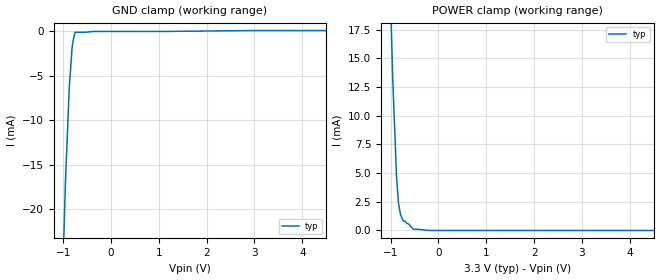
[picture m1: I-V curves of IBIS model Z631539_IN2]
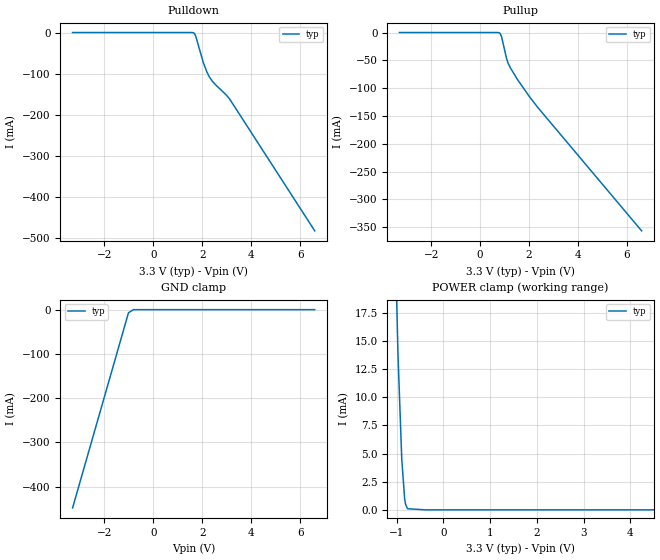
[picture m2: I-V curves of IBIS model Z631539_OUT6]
| YOU ARE ONLY AUTHORIZED TO USE THIS SOFTWARE
| ACCORDING TO LICENSOR'S LICENSE RESTRICTIONS.
[IBIS Ver] 3.1
[File Name] mc100ep08dt_33.ibs
[File Rev] .1
[Source] Derived form mc10ep16d_33.ibs Measured and created
|   by ICX Technology
[Date] 6/17/2002
[Copyright]
| (C) COPYRIGHT 1993-2000
| MENTOR GRAPHICS CORPORATION
| ICX STANDARD LIBRARY, ICX PROJECT MODELING,
| ICX CUSTOM MODELING, ICX VENDOR MODEL
| ALL RIGHTS RESERVED.
| THE FOLLOWING ARE TRADEMARKS OR SERVICE MARKS OF
| MENTOR GRAPHICS CORPORATION:ICX (R), ICX STANDARD
| LIBRARY(R), ICX PROJECT MODELING(R), ICX CUSTOM
| MODELING(R), qualityIBIS(TM), MODELVIEWER(TM),
| AND MODELEDITOR(TM)
| ALL COPIES OF SOFTWARE, INCLUDING BUT NOT LIMITED TO
| ANY MODIFICATIONS, ENHANCEMENTS OR DERIVATIVE WORKS,
| MUST CONTAIN ALL MENTOR GRAPHICS CORPORATION'S
| NOTICES AND LEGENDS, INCLUDING THOSE EMBEDDED IN
| SOFTWARE AND THOSE AFFIXED TO SOFTWARE MEDIUM
| AND CONTAINER, AS RECEIVED FROM MENTOR GRAPHICS
| CORPORATION.
|  ZAP Model Builder 2.8
[Component] MC100EP08DT_33
[Manufacturer] OnSemiconductor
[Package]
| variable   typ   min   max
R_pkg  .044ohms NA NA
L_pkg  1.82nH NA NA
C_pkg  .083pF NA NA
[Pin] signal_name  model_name  R_pin  L_pin C_pin
1 D0 Z631539_IN2 .044 1.802n .083p
2 _D0 Z631539_IN2 .044 1.802n .083p
3 D1 Z631539_IN2 .044 1.802n .083p
4 _D1 Z631539_IN2 .044 1.802n .083p
5 VEE GND .044 1.802n .083p
6 _Q Z631539_OUT6 .044 1.802n .083p
7 Q Z631539_OUT6 .044 1.802n .083p
8 VCC POWER .044 1.802n .083p
[Diff Pin] inv_pin vdiff tdelay_typ tdelay_min tdelay_max
1 2 150mv NA NA NA
3 4 150mv NA NA NA
7 6 NA .005ns NA .02ns
| Models and submodels in the file (2): Z631539_IN2 (Input_ECL), Z631539_OUT6 (Output_ECL)
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| (C) COPYRIGHT 1993-2000
| MENTOR GRAPHICS CORPORATION
| ICX STANDARD LIBRARY, ICX PROJECT MODELING,
| ICX CUSTOM MODELING, ICX VENDOR MODEL
| ALL RIGHTS RESERVED.
| THE FOLLOWING ARE TRADEMARKS OR SERVICE MARKS OF
| MENTOR GRAPHICS CORPORATION:ICX (R), ICX STANDARD
| LIBRARY(R), ICX PROJECT MODELING(R), ICX CUSTOM
| MODELING(R), qualityIBIS(TM), MODELVIEWER(TM),
| AND MODELEDITOR(TM)
| ALL COPIES OF SOFTWARE, INCLUDING BUT NOT LIMITED TO
| ANY MODIFICATIONS, ENHANCEMENTS OR DERIVATIVE WORKS,
| MUST CONTAIN ALL MENTOR GRAPHICS CORPORATION'S
| NOTICES AND LEGENDS, INCLUDING THOSE EMBEDDED IN
| SOFTWARE AND THOSE AFFIXED TO SOFTWARE MEDIUM
| AND CONTAINER, AS RECEIVED FROM MENTOR GRAPHICS
| CORPORATION.
| Model Application Version 1.89 2/18/99.
[Model] Z631539_IN2
Model_type Input_ECL
Vinl = 1.675V
Vinh = 2.075V
C_comp 1.10pF NA NA
| variable typ   min   max
[Voltage Range] 3.300V NA NA
[GND Clamp Reference] 0.000V NA NA
[POWER Clamp Reference] 3.300V NA NA
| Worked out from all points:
|   GND clamp passes 1 mA (typ) near -0.79 V on its own axis
|   POWER clamp passes 1 mA (typ) near -0.75 V on its own axis
[GND Clamp]
-3.3V     -459.2mA   NA         NA
-953mV    -17.2mA    NA         NA
-871mV    -6.3mA     NA         NA
-811mV    -1.8mA     NA         NA
-790mV    -1mA       NA         NA
-749.8mV  -100uA     NA         NA
-552.3mV  -100uA     NA         NA
-354.8mV  0A         NA         NA
1.136V    0A         NA         NA
2.96V     100uA      NA         NA
6.6V      100uA      NA         NA
[POWER Clamp]
-3.3V     452.1mA    NA         NA
-1.058V   29mA       NA         NA
-957mV    13.4mA     NA         NA
-876mV    4.7mA      NA         NA
-835mV    2.4mA      NA         NA
-795mV    1.4mA      NA         NA
-754mV    1mA        NA         NA
-723.5mV  800uA      NA         NA
-632mV    600uA      NA         NA
-520.5mV  100uA      NA         NA
-204.5mV  0A         NA         NA
6.6V      0A         NA         NA
| (C) COPYRIGHT 1993-2000
| MENTOR GRAPHICS CORPORATION
| ICX STANDARD LIBRARY, ICX PROJECT MODELING,
| ICX CUSTOM MODELING, ICX VENDOR MODEL
| ALL RIGHTS RESERVED.
| THE FOLLOWING ARE TRADEMARKS OR SERVICE MARKS OF
| MENTOR GRAPHICS CORPORATION:ICX (R), ICX STANDARD
| LIBRARY(R), ICX PROJECT MODELING(R), ICX CUSTOM
| MODELING(R), qualityIBIS(TM), MODELVIEWER(TM),
| AND MODELEDITOR(TM)
| ALL COPIES OF SOFTWARE, INCLUDING BUT NOT LIMITED TO
| ANY MODIFICATIONS, ENHANCEMENTS OR DERIVATIVE WORKS,
| MUST CONTAIN ALL MENTOR GRAPHICS CORPORATION'S
| NOTICES AND LEGENDS, INCLUDING THOSE EMBEDDED IN
| SOFTWARE AND THOSE AFFIXED TO SOFTWARE MEDIUM
| AND CONTAINER, AS RECEIVED FROM MENTOR GRAPHICS
| CORPORATION.
| Model Application Version 1.89 2/18/99.
[Model] Z631539_OUT6
Model_type Output_ECL
Vref=1.300V
Rref=50.00ohms
Cref=0.000F
Vmeas=1.955V
C_comp 1.10pF NA NA
| variable typ   min   max
[Voltage Range] 3.300V NA NA
[POWER Clamp Reference] 3.300V NA NA
[Pullup Reference] 3.300V NA NA
[Pulldown Reference] 3.300V NA NA
[GND Clamp Reference] 0.000V NA NA
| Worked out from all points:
|   GND clamp passes 1 mA (typ) near -0.84 V on its own axis
|   POWER clamp passes 1 mA (typ) near -0.83 V on its own axis
[GND Clamp]
-3.3V     -448.2mA   NA         NA
-1.014V   -7.007mA   NA         NA
-811.2mV  0A         NA         NA
6.6V      0A         NA         NA
[Pulldown]
-3.3V     0A         NA         NA
1.557V    0A         NA         NA
1.679V    -2.3mA     NA         NA
1.719V    -6.5mA     NA         NA
1.76V     -14.1mA    NA         NA
2.043V    -72.9mA    NA         NA
2.185V    -95.2mA    NA         NA
2.286V    -107.5mA   NA         NA
2.55V     -127.4mA   NA         NA
2.976V    -151.5mA   NA         NA
3.118V    -161.5mA   NA         NA
6.6V      -482.3mA   NA         NA
[Pullup]
-3.3V     0A         NA         NA
711mV     0A         NA         NA
771mV     -400uA     NA         NA
812mV     -1.5mA     NA         NA
873mV     -7.3mA     NA         NA
1.075V    -46.2mA    NA         NA
1.136V    -54.4mA    NA         NA
1.237V    -63.7mA    NA         NA
1.521V    -84.2mA    NA         NA
2.008V    -114.9mA   NA         NA
2.352V    -134.5mA   NA         NA
6.6V      -356.4mA   NA         NA
[POWER Clamp]
-3.3V     411.5mA    NA         NA
-972mV    13.8mA     NA         NA
-891mV    4.5mA      NA         NA
-830mV    1mA        NA         NA
-810mV    500uA      NA         NA
-769mV    100uA      NA         NA
-384.5mV  0A         NA         NA
6.6V      0A         NA         NA
[Ramp]
| variable typ min max
dV/dt_r 348.9m/82.84p NA NA
dV/dt_f 348.9m/94.91p NA NA
R_load = 50.00Ohms
